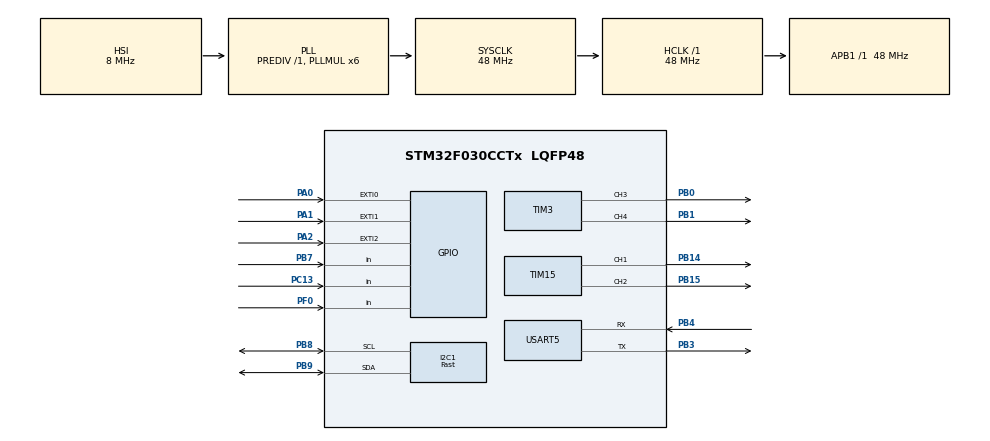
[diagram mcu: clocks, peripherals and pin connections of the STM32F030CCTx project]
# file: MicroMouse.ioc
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Dma.Request0=USART5_RX
Dma.Request1=USART5_TX
Dma.USART5_RX.0.Direction=DMA_PERIPH_TO_MEMORY
Dma.USART5_RX.0.Instance=DMA1_Channel1
Dma.USART5_RX.0.MemDataAlignment=DMA_MDATAALIGN_BYTE
Dma.USART5_RX.0.MemInc=DMA_MINC_ENABLE
Dma.USART5_RX.0.Mode=DMA_CIRCULAR
Dma.USART5_RX.0.PeriphDataAlignment=DMA_PDATAALIGN_BYTE
Dma.USART5_RX.0.PeriphInc=DMA_PINC_DISABLE
Dma.USART5_RX.0.Priority=DMA_PRIORITY_VERY_HIGH
Dma.USART5_TX.1.Direction=DMA_MEMORY_TO_PERIPH
Dma.USART5_TX.1.Instance=DMA1_Channel2
Dma.USART5_TX.1.MemDataAlignment=DMA_MDATAALIGN_BYTE
Dma.USART5_TX.1.MemInc=DMA_MINC_ENABLE
Dma.USART5_TX.1.Mode=DMA_NORMAL
Dma.USART5_TX.1.PeriphDataAlignment=DMA_PDATAALIGN_BYTE
Dma.USART5_TX.1.PeriphInc=DMA_PINC_DISABLE
Dma.USART5_TX.1.Priority=DMA_PRIORITY_VERY_HIGH
I2C1.I2C_Speed_Mode=I2C_Fast
I2C1.Timing=0x0000020B
Mcu.Family=STM32F0
Mcu.Name=STM32F030CCTx
Mcu.Package=LQFP48
NVIC.DMA1_Channel1_IRQn=true\:1\:0\:true\:false\:true\:false\:true\:true
NVIC.DMA1_Channel2_3_IRQn=true\:1\:0\:true\:false\:true\:false\:true\:true
NVIC.EXTI0_1_IRQn=true\:0\:0\:true\:false\:true\:true\:true\:true
NVIC.EXTI2_3_IRQn=true\:0\:0\:true\:false\:true\:true\:true\:true
NVIC.EXTI4_15_IRQn=true\:0\:0\:true\:false\:true\:true\:true\:true
NVIC.TIM1_BRK_UP_TRG_COM_IRQn=true\:1\:0\:true\:false\:true\:true\:true\:true
NVIC.TIM6_IRQn=true\:0\:0\:false\:false\:true\:true\:true\:true
NVIC.USART3_6_IRQn=true\:1\:0\:true\:false\:true\:true\:true\:true
PA0.GPIO_ModeDefaultEXTI=GPIO_MODE_IT_RISING_FALLING
PA0.Signal=GPXTI0
PA1.GPIO_ModeDefaultEXTI=GPIO_MODE_IT_RISING_FALLING
PA1.Signal=GPXTI1
PA2.GPIO_ModeDefaultEXTI=GPIO_MODE_IT_RISING_FALLING
PA2.Signal=GPXTI2
PB0.Signal=S_TIM3_CH3
PB1.Signal=S_TIM3_CH4
PB14.Signal=S_TIM15_CH1
PB15.Signal=S_TIM15_CH2
PB3.Mode=Asynchronous
PB3.Signal=USART5_TX
PB4.Mode=Asynchronous
PB4.Signal=USART5_RX
PB7.Signal=GPIO_Input
PB8.Mode=I2C
PB8.Signal=I2C1_SCL
PB9.Mode=I2C
PB9.Signal=I2C1_SDA
PC13.Signal=GPIO_Input
PC14OSC32_IN.Signal=GPIO_Input
PC15OSC32_OUT.GPIO_ModeDefaultEXTI=GPIO_MODE_IT_RISING_FALLING
PC15OSC32_OUT.Signal=GPXTI15
PF0-OSC_IN.Signal=GPIO_Input
ProjectManager.HeapSize=0x200
ProjectManager.StackSize=0x400
ProjectManager.TargetToolchain=STM32CubeIDE
RCC.AHBFreq_Value=48000000
RCC.APB1Freq_Value=48000000
RCC.APB1TimFreq_Value=48000000
RCC.HCLKFreq_Value=48000000
RCC.PLLMUL=RCC_PLL_MUL6
RCC.SYSCLKFreq_VALUE=48000000
RCC.SYSCLKSource=RCC_SYSCLKSOURCE_PLLCLK
SH.S_TIM15_CH1.0=TIM15_CH1,PWM Generation1 CH1
SH.S_TIM15_CH2.0=TIM15_CH2,PWM Generation2 CH2
SH.S_TIM3_CH3.0=TIM3_CH3,PWM Generation3 CH3
SH.S_TIM3_CH4.0=TIM3_CH4,PWM Generation4 CH4
TIM1.Period=9
TIM1.Prescaler=47999
TIM15.Channel-PWM\ Generation1\ CH1=TIM_CHANNEL_1
TIM15.Channel-PWM\ Generation2\ CH2=TIM_CHANNEL_2
TIM3.Channel-PWM\ Generation3\ CH3=TIM_CHANNEL_3
TIM3.Channel-PWM\ Generation4\ CH4=TIM_CHANNEL_4
TIM6.Period=9
TIM6.Prescaler=4799
USART5.VirtualMode-Asynchronous=VM_ASYNC
VP_TIM1_VS_ClockSourceINT.Mode=Internal
VP_TIM6_VS_ClockSourceINT.Mode=Enable_Timer
board=custom

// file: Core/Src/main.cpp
/* USER CODE BEGIN Header */
/**
  ******************************************************************************
  * @file           : main.c
  * @brief          : Main program body
  ******************************************************************************
  * @attention
  *
  * Copyright (c) 2023 STMicroelectronics.
  * All rights reserved.
  *
  * This software is licensed under terms that can be found in the LICENSE file
  * in the root directory of this software component.
  * If no LICENSE file comes with this software, it is provided AS-IS.
  *
  ******************************************************************************
  */
/* USER CODE END Header */
#include "Motor.h"
#include "main.h"
#include "i2c.h"
#include "dma.h"
#include "tim.h"
#include "usart.h"
#include "gpio.h"
#include "Defines.h"
#include "CommandMessage.h"
#include "DataMessage.h"
#include "Executer.h"
#include "Motor.h"
#include "RotaryEncoder.h"
#include "AnalogSensor.h"
#include "vl53l1_api.h"

/* USER CODE BEGIN PV */

RotaryEncoder encLeft = RotaryEncoder(ENCLA_PIN, ENCLB_PIN, ENCLA_PORT, ENCLB_PORT);
RotaryEncoder encRight = RotaryEncoder(ENCRA_PIN, ENCRB_PIN, ENCRA_PORT, ENCRB_PORT);

// PIDController(encoder, kp, kd, ki)
PIDController pidLeft = PIDController(&encLeft, 0.2, 0.0, 0.0);
PIDController pidRight = PIDController(&encRight, 0.2, 0.0, 0.0);

Motor motorLeft = Motor(&htim3, TIM_CHANNEL_4, TIM_CHANNEL_3, &pidLeft);
Motor motorRight = Motor(&htim15, TIM_CHANNEL_2, TIM_CHANNEL_1, &pidRight);

AnalogSensor distanceSensor = AnalogSensor();

uint8_t Rx_buf[12]; //messages are 48 bit

bool stoppedMotorL = false;
bool stoppedMotorR = false;

/* USER CODE END PV */

void SystemClock_Config(void);

int main(void)
{

  /* MCU Configuration--------------------------------------------------------*/

  /* Reset of all peripherals, Initializes the Flash interface and the Systick. */
  HAL_Init();

  /* Configure the system clock */
  SystemClock_Config();

  /* Initialize all configured peripherals */
  MX_GPIO_Init();
  MX_TIM15_Init();
  MX_DMA_Init();
  MX_I2C1_Init();
  MX_USART5_UART_Init();
  MX_TIM1_Init();
  MX_TIM3_Init();
  MX_TIM6_Init();
  /* USER CODE BEGIN 2 */

  HAL_TIM_Base_Start_IT(&htim1);
  HAL_TIM_Base_Start_IT(&htim6);

  distanceSensor.init();

  HAL_UART_Receive_DMA(&huart5, Rx_buf, 6);

  /* USER CODE END 2 */

  /* Infinite loop */
  while (1)
  {

  }
}

void SystemClock_Config(void)
{
  RCC_OscInitTypeDef RCC_OscInitStruct = {0};
  RCC_ClkInitTypeDef RCC_ClkInitStruct = {0};
  RCC_PeriphCLKInitTypeDef PeriphClkInit = {0};

  /** Initializes the RCC Oscillators according to the specified parameters
  * in the RCC_OscInitTypeDef structure.
  */
  RCC_OscInitStruct.OscillatorType = RCC_OSCILLATORTYPE_HSI;
  RCC_OscInitStruct.HSIState = RCC_HSI_ON;
  RCC_OscInitStruct.HSICalibrationValue = RCC_HSICALIBRATION_DEFAULT;
  RCC_OscInitStruct.PLL.PLLState = RCC_PLL_ON;
  RCC_OscInitStruct.PLL.PLLSource = RCC_PLLSOURCE_HSI;
  RCC_OscInitStruct.PLL.PLLMUL = RCC_PLL_MUL6;
  RCC_OscInitStruct.PLL.PREDIV = RCC_PREDIV_DIV1;
  if (HAL_RCC_OscConfig(&RCC_OscInitStruct) != HAL_OK)
  {
    Error_Handler();
  }

  /** Initializes the CPU, AHB and APB buses clocks
  */
  RCC_ClkInitStruct.ClockType = RCC_CLOCKTYPE_HCLK|RCC_CLOCKTYPE_SYSCLK
                              |RCC_CLOCKTYPE_PCLK1;
  RCC_ClkInitStruct.SYSCLKSource = RCC_SYSCLKSOURCE_PLLCLK;
  RCC_ClkInitStruct.AHBCLKDivider = RCC_SYSCLK_DIV1;
  RCC_ClkInitStruct.APB1CLKDivider = RCC_HCLK_DIV1;

  if (HAL_RCC_ClockConfig(&RCC_ClkInitStruct, FLASH_LATENCY_1) != HAL_OK)
  {
    Error_Handler();
  }
  PeriphClkInit.PeriphClockSelection = RCC_PERIPHCLK_I2C1;
  PeriphClkInit.I2c1ClockSelection = RCC_I2C1CLKSOURCE_HSI;
  if (HAL_RCCEx_PeriphCLKConfig(&PeriphClkInit) != HAL_OK)
  {
    Error_Handler();
  }
}

/* USER CODE BEGIN 4 */

void HAL_GPIO_EXTI_Callback(uint16_t GPIO_Pin){

	//each rising and falling edge on the A  or B signal, update the encoder values
	if(GPIO_Pin == ENCRA_PIN || GPIO_Pin == ENCRB_PIN){
		encRight.update_encoder(GPIO_Pin);
	}
	else if(GPIO_Pin == ENCLA_PIN || GPIO_Pin == ENCLB_PIN){
		encLeft.update_encoder(GPIO_Pin);
	}

}

void HAL_TIM_PeriodElapsedCallback(TIM_HandleTypeDef* htim){
	if(htim == &htim1){
		//TIM1 interrupts at 10Hz (every 100 ms)
		encLeft.update_speed();
		encRight.update_speed();
		distanceSensor.update_sensor();

		collectSensorData();
	}

	if(htim == &htim6){
		//TIM6 interrupts at 1kHz (every 1 ms)
		if(motorLeft.isDriving()){

			motorLeft.recalcPIDSpeed();

			if(pidLeft.reachedSetPosition()){
				motorLeft.stop();
				stoppedMotorL = true;
			}

		}

		if(motorRight.isDriving()){

			motorRight.recalcPIDSpeed();

			if(pidRight.reachedSetPosition()){
				motorRight.stop();
				stoppedMotorR = true;
			}

		}

		if (stoppedMotorL && stoppedMotorR) {
			sendMessage(Message(MOVEMENT_DONE));
			stoppedMotorL = false;
			stoppedMotorR = false;
		}
	}

}

void HAL_UART_TxCpltCallback(UART_HandleTypeDef *huart){
	HAL_UART_Receive_DMA(huart, Rx_buf, 6);
}

void HAL_UART_RxCpltCallback(UART_HandleTypeDef *huart){
	if(huart == &huart5){
		//only if initiation sequence is correct
		if(Rx_buf[0] == 0x1A && (Rx_buf[1]>>4) == 0x4){
			uint8_t cmd = Rx_buf[1] & 0x0F; //cmd is just the lower 4 bits of the second byte
			uint32_t param = (Rx_buf[2] << 24) | (Rx_buf[3] << 16) | (Rx_buf[4] << 8) | (Rx_buf[5]);
			CommandMessage cmdMsg((Command)cmd, param);
			executeCommand(cmdMsg);
		}
	}
}

/* USER CODE END 4 */

void Error_Handler(void)
{
  __disable_irq();
  while (1)
  {
  }
}
